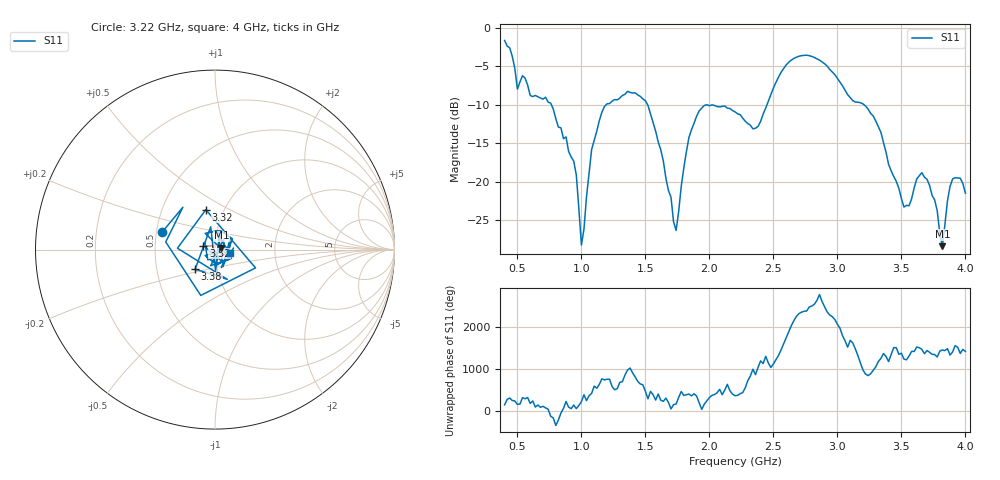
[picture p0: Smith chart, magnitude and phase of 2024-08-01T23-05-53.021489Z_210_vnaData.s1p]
!Created with skrf (http://scikit-rf.org).
# Hz S RI R 50.0
!freq ReS11 ImS11
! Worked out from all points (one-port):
!   181 points, 400 MHz to 4 GHz, reference 50 ohm
!   lowest |S11| = -28.4 dB at 3.82 GHz (marker M1), VSWR 1.08, Z = 53.7 + j1.2 ohm
!   |S11| at or under -10 dB: 1.518 GHz to 1.976 GHz (458.9 MHz wide, 26.3 % of centre); 1.983 GHz to 2.45 GHz (467.2 MHz wide, 21.1 % of centre); 3.209 GHz to end of sweep (the widest 3 of 4)
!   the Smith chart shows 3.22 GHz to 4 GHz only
!   S11 on the Smith chart (normalised r, x): 3.22 GHz: 0.54, +0.11; 3.32 GHz: 0.82, +0.39; 3.38 GHz: 0.78, -0.17; 3.52 GHz: 0.88, +0.04; 4 GHz: 1.18, -0.05
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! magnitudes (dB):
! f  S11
! 400 MHz  -1.6
! 500 MHz  -7.9
! 720 MHz  -9.0
! 860 MHz  -14.4
! 960 MHz  -19.1
! 1 GHz  -28.3
! 1.08 GHz  -15.8
! 1.18 GHz  -10.2
! 1.3 GHz  -9.1
! 1.52 GHz  -10.1
! 1.72 GHz  -25.3
! 1.76 GHz  -23.9
! 1.84 GHz  -14.3
! 1.92 GHz  -10.8
! 2.2 GHz  -10.9
! 2.38 GHz  -12.8
! 2.66 GHz  -3.9
! 3.1 GHz  -9.1
! 3.22 GHz  -10.1
! 3.32 GHz  -12.8
! 3.38 GHz  -16.2
! 3.52 GHz  -23.3
! 3.56 GHz  -23.2
! 3.66 GHz  -18.8
! 3.76 GHz  -22.4
! 3.82 GHz  -28.4
! 3.9 GHz  -19.7
! 4 GHz  -21.5
